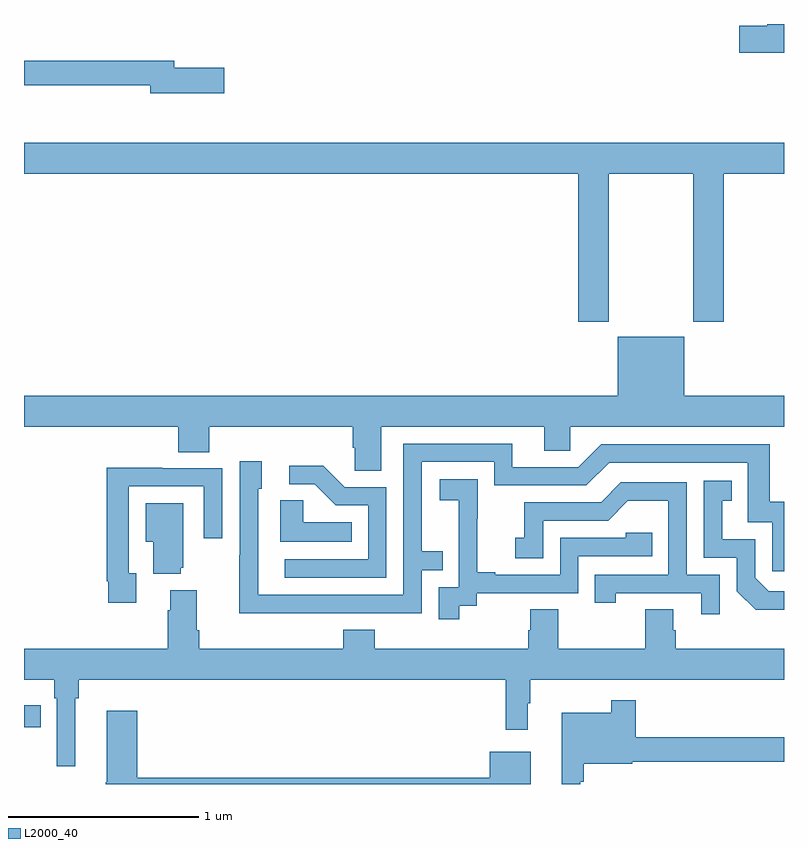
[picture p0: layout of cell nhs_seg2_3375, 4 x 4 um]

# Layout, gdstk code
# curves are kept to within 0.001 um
import gdstk
lib = gdstk.Library(unit=1e-6, precision=1e-09)
def R(c, l, rs):  # rectangles x0, y0, x1, y1
    for r in rs: c.add(gdstk.rectangle(r[:2], r[2:], *l))
def P(c, l, *ps):  # polygons
    for p in ps: c.add(gdstk.Polygon(p, *l))
L2000_40 = (2000, 40)

nhs_seg2_3375 = lib.new_cell('nhs_seg2_3375')
R(nhs_seg2_3375, L2000_40, [(289,602.098,289.088,602.214)])
P(nhs_seg2_3375, L2000_40, [(293,605.8),(292.913,605.8),(292.913,605.792),(292.764,605.792),(292.764,605.65),(293,605.65)],
  [(290.053,605.57),(289.792,605.57),(289.792,605.606),(289,605.606),(289,605.478),(289.664,605.478),(289.664,605.435),(290.053,605.435)],
  [(292.077,605.012),(292.522,605.012),(292.522,604.233),(292.682,604.233),(292.682,605.012),(293,605.012),(293,605.176),(289,605.176),(289,605.012),(291.917,605.012),(291.917,604.233),(292.077,604.233)],
  [(290.881,603.68),(291.737,603.68),(291.737,603.553),(291.876,603.553),(291.876,603.68),(293,603.68),(293,603.844),(292.474,603.844),(292.474,604.153),(292.124,604.153),(292.124,603.844),(289,603.844),(289,603.68),(289.811,603.68),(289.811,603.547),(289.976,603.547),(289.976,603.68),(290.729,603.68),(290.729,603.571),(290.742,603.571),(290.742,603.448),(290.881,603.448)],
  [(290.597,602.7),(291.093,602.7),(291.093,602.925),(291.203,602.925),(291.203,603.026),(291.093,603.026),(291.093,603.495),(291.474,603.495),(291.474,603.372),(291.96,603.372),(292.08,603.492),(292.809,603.492),(292.809,603.177),(292.938,603.177),(292.938,602.919),(293,602.919),(293,603.286),(292.925,603.286),(292.925,603.588),(292.038,603.588),(291.918,603.468),(291.571,603.468),(291.571,603.591),(290.997,603.591),(290.997,602.796),(290.232,602.796),(290.232,603.354),(290.251,603.354),(290.251,603.499),(290.136,603.499),(290.136,603.005),(290.134,603.005),(290.134,602.699)],
  [(290.907,603.363),(290.688,603.363),(290.575,603.476),(290.397,603.476),(290.397,603.378),(290.531,603.378),(290.642,603.267),(290.811,603.267),(290.811,602.982),(290.373,602.982),(290.373,602.886),(290.907,602.886)],
  [(289.591,602.91),(289.551,602.91),(289.551,603.366),(289.947,603.366),(289.947,603.093),(290.043,603.093),(290.043,603.462),(289.727,603.462),(289.727,603.464),(289.435,603.464),(289.435,602.866),(289.443,602.866),(289.443,602.754),(289.591,602.754)],
  [(291.292,602.737),(291.384,602.737),(291.384,602.805),(291.918,602.805),(291.918,603),(292.307,603),(292.307,603.123),(292.167,603.123),(292.167,603.096),(291.822,603.096),(291.822,602.901),(291.481,602.901),(291.481,602.914),(291.386,602.914),(291.386,603.197),(291.387,603.197),(291.387,603.403),(291.189,603.403),(291.189,603.293),(291.287,603.293),(291.287,603.065),(291.288,603.065),(291.288,602.835),(291.183,602.835),(291.183,602.667),(291.292,602.667)],
  [(293,602.814),(292.92,602.814),(292.848,602.886),(292.848,603.087),(292.675,603.087),(292.675,603.291),(292.724,603.291),(292.724,603.397),(292.578,603.397),(292.578,602.991),(292.752,602.991),(292.752,602.814),(292.85,602.717),(293,602.717)],
  [(292.662,602.901),(292.488,602.901),(292.488,603.387),(292.142,603.387),(292.037,603.282),(291.634,603.282),(291.634,603.097),(291.585,603.097),(291.585,602.988),(291.732,602.988),(291.732,603.186),(292.074,603.186),(292.178,603.29),(292.392,603.29),(292.392,602.901),(292.003,602.901),(292.003,602.754),(292.114,602.754),(292.114,602.805),(292.565,602.805),(292.565,602.694),(292.662,602.694)],
  [(290.726,603.178),(290.469,603.178),(290.469,603.293),(290.348,603.293),(290.348,603.074),(290.726,603.074)],
  [(289.826,602.937),(289.837,602.937),(289.837,603.277),(289.64,603.277),(289.64,603.074),(289.679,603.074),(289.679,602.906),(289.826,602.906)],
  [(289.27,602.252),(289.289,602.252),(289.289,602.348),(291.535,602.348),(291.535,602.085),(291.652,602.085),(291.652,602.225),(291.664,602.225),(291.664,602.348),(293,602.348),(293,602.512),(292.43,602.512),(292.43,602.61),(292.417,602.61),(292.417,602.72),(292.27,602.72),(292.27,602.512),(291.813,602.512),(291.813,602.72),(291.665,602.72),(291.665,602.61),(291.653,602.61),(291.653,602.512),(290.846,602.512),(290.846,602.611),(290.681,602.611),(290.681,602.512),(289.922,602.512),(289.922,602.608),(289.909,602.608),(289.909,602.821),(289.769,602.821),(289.769,602.714),(289.757,602.714),(289.757,602.512),(289,602.512),(289,602.348),(289.16,602.348),(289.16,602.252),(289.173,602.252),(289.173,601.893),(289.27,601.893)],
  [(291.927,601.811),(291.947,601.811),(291.947,601.907),(292.201,601.907),(292.201,601.918),(293,601.918),(293,602.047),(292.22,602.047),(292.22,602.242),(292.092,602.242),(292.092,602.176),(291.83,602.176),(291.83,601.8),(291.927,601.8)],
  [(291.667,601.969),(291.452,601.969),(291.452,601.832),(289.595,601.832),(289.595,602.185),(289.436,602.185),(289.436,601.809),(289.429,601.809),(289.429,601.8),(291.667,601.8)])

lib.write_gds('nhs_seg2_3375.gds')
